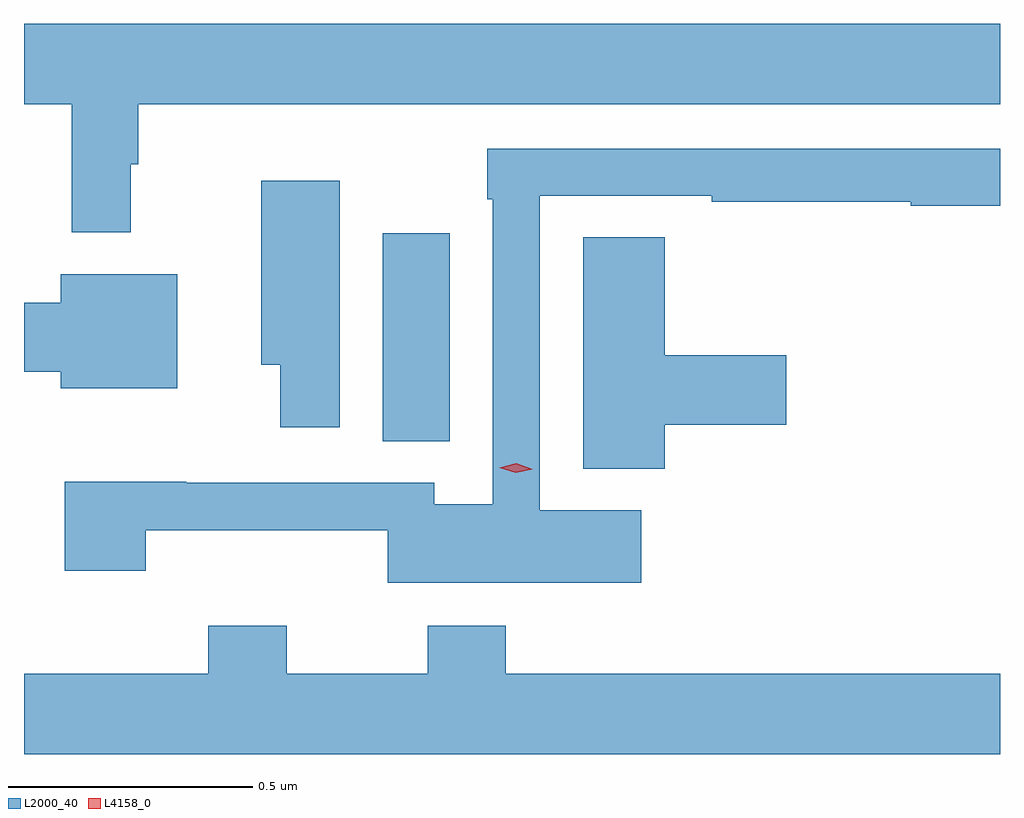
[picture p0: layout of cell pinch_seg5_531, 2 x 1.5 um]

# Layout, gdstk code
import gdstk
lib = gdstk.Library(unit=1e-6, precision=1e-09)
def R(c, l, rs):  # rectangles x0, y0, x1, y1
    for r in rs: c.add(gdstk.rectangle(r[:2], r[2:], *l))
def P(c, l, *ps):  # polygons
    for p in ps: c.add(gdstk.Polygon(p, *l))
L2000_40 = (2000, 40)
L4158_0 = (4158, 0)

pinch_seg5_531 = lib.new_cell('pinch_seg5_531')
R(pinch_seg5_531, L2000_40, [(888.182,838.753,888.319,839.179)])
P(pinch_seg5_531, L2000_40, [(887.666,839.321),(887.681,839.321),(887.681,839.444),(889.447,839.444),(889.447,839.608),(887.447,839.608),(887.447,839.444),(887.545,839.444),(887.545,839.181),(887.666,839.181)],
  [(888.712,838.612),(888.504,838.612),(888.504,839.256),(888.856,839.256),(888.856,839.244),(889.264,839.244),(889.264,839.236),(889.447,839.236),(889.447,839.352),(888.396,839.352),(888.396,839.249),(888.408,839.249),(888.408,838.624),(888.288,838.624),(888.288,838.668),(887.779,838.668),(887.779,838.67),(887.531,838.67),(887.531,838.488),(887.696,838.488),(887.696,838.571),(888.192,838.571),(888.192,838.463),(888.712,838.463)],
  [(888.094,839.287),(887.933,839.287),(887.933,838.91),(887.972,838.91),(887.972,838.782),(888.094,838.782)],
  [(888.76,838.787),(889.009,838.787),(889.009,838.929),(888.76,838.929),(888.76,839.171),(888.593,839.171),(888.593,838.697),(888.76,838.697)],
  [(887.761,839.095),(887.522,839.095),(887.522,839.037),(887.447,839.037),(887.447,838.895),(887.522,838.895),(887.522,838.862),(887.761,838.862)],
  [(889.447,838.276),(888.434,838.276),(888.434,838.375),(888.274,838.375),(888.274,838.276),(887.985,838.276),(887.985,838.375),(887.825,838.375),(887.825,838.276),(887.447,838.276),(887.447,838.112),(889.447,838.112)])
P(pinch_seg5_531, L4158_0, [(888.455,838.688),(888.421,838.699),(888.42,838.699),(888.421,838.699),(888.456,838.708),(888.49,838.696),(888.49,838.696),(888.49,838.696)])

lib.write_gds('pinch_seg5_531.gds')
